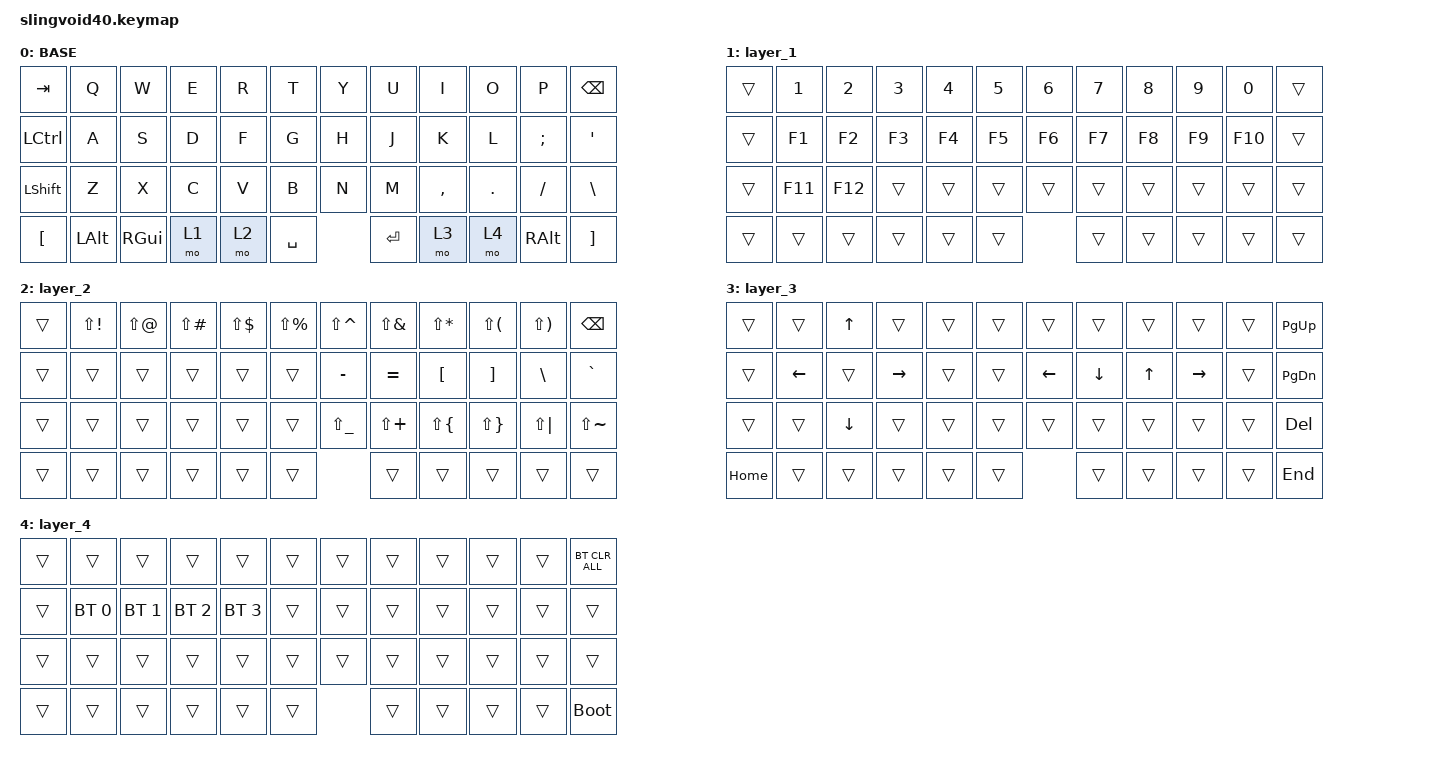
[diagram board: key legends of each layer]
#include <behaviors.dtsi>
#include <dt-bindings/zmk/bt.h>
#include <dt-bindings/zmk/keys.h>

#define BASE 0

/ {
    combos {
        compatible = "zmk,combos";

        back {
            bindings = <&kp BACKSPACE>;
            key-positions = <19 20>;
        };

        escape {
            bindings = <&kp ESCAPE>;
            key-positions = <13 29>;
        };
    };

    keymap {
        compatible = "zmk,keymap";

        default_layer {
            label = "BASE";
            bindings = <
&kp TAB    &kp Q     &kp W     &kp E  &kp R  &kp T      &kp Y  &kp U      &kp I      &kp O    &kp P          &kp BSPC
&kp LCTRL  &kp A     &kp S     &kp D  &kp F  &kp G      &kp H  &kp J      &kp K      &kp L    &kp SEMICOLON  &kp APOS
&kp LSHFT  &kp Z     &kp X     &kp C  &kp V  &kp B      &kp N  &kp M      &kp COMMA  &kp DOT  &kp SLASH      &kp BSLH
&kp LBKT   &kp LALT  &kp RGUI  &mo 1  &mo 2  &kp SPACE         &kp ENTER  &mo 3      &mo 4    &kp RALT       &kp RBKT
            >;
        };

        layer_1 {
            bindings = <
&trans  &kp NUMBER_1  &kp NUMBER_2  &kp NUMBER_3  &kp NUMBER_4  &kp NUMBER_5  &kp NUMBER_6  &kp NUMBER_7  &kp NUMBER_8  &kp NUMBER_9  &kp NUMBER_0  &trans
&trans  &kp F1        &kp F2        &kp F3        &kp F4        &kp F5        &kp F6        &kp F7        &kp F8        &kp F9        &kp F10       &trans
&trans  &kp F11       &kp F12       &trans        &trans        &trans        &trans        &trans        &trans        &trans        &trans        &trans
&trans  &trans        &trans        &trans        &trans        &trans                      &trans        &trans        &trans        &trans        &trans
            >;
        };

        layer_2 {
            bindings = <
&trans  &kp LS(EXCL)  &kp LS(AT)  &kp LS(POUND)  &kp LS(DLLR)  &kp LS(PRCNT)  &kp LS(CARET)  &kp LS(AMPS)  &kp LS(STAR)  &kp LS(LPAR)  &kp LS(RPAR)  &kp BSPC
&trans  &trans        &trans      &trans         &trans        &trans         &kp MINUS      &kp EQUAL     &kp LBKT      &kp RBKT      &kp BSLH      &kp GRAVE
&trans  &trans        &trans      &trans         &trans        &trans         &kp LS(UNDER)  &kp LS(PLUS)  &kp LS(LBRC)  &kp LS(RBRC)  &kp LS(PIPE)  &kp LS(TILDE)
&trans  &trans        &trans      &trans         &trans        &trans                        &trans        &trans        &trans        &trans        &trans
            >;
        };

        layer_3 {
            bindings = <
&trans    &trans          &kp UP_ARROW    &trans           &trans  &trans  &trans          &trans          &trans        &trans           &trans  &kp PAGE_UP
&trans    &kp LEFT_ARROW  &trans          &kp RIGHT_ARROW  &trans  &trans  &kp LEFT_ARROW  &kp DOWN_ARROW  &kp UP_ARROW  &kp RIGHT_ARROW  &trans  &kp PAGE_DOWN
&trans    &trans          &kp DOWN_ARROW  &trans           &trans  &trans  &trans          &trans          &trans        &trans           &trans  &kp DELETE
&kp HOME  &trans          &trans          &trans           &trans  &trans                  &trans          &trans        &trans           &trans  &kp END
            >;
        };

        layer_4 {
            bindings = <
&trans  &trans        &trans        &trans        &trans        &trans  &trans  &trans  &trans  &trans  &trans  &bt BT_CLR_ALL
&trans  &bt BT_SEL 0  &bt BT_SEL 1  &bt BT_SEL 2  &bt BT_SEL 3  &trans  &trans  &trans  &trans  &trans  &trans  &trans
&trans  &trans        &trans        &trans        &trans        &trans  &trans  &trans  &trans  &trans  &trans  &trans
&trans  &trans        &trans        &trans        &trans        &trans          &trans  &trans  &trans  &trans  &bootloader
            >;
        };
    };
};
